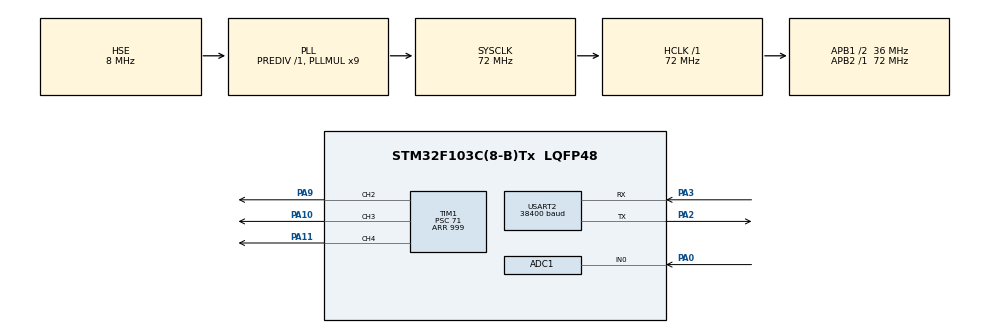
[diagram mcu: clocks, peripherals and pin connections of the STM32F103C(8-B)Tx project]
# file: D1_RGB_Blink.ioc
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ADC1.Channel-1\#ChannelRegularConversion=ADC_CHANNEL_0
ADC1.ContinuousConvMode=ENABLE
ADC1.NbrOfConversionFlag=1
ADC1.Rank-1\#ChannelRegularConversion=1
ADC1.SamplingTime-1\#ChannelRegularConversion=ADC_SAMPLETIME_239CYCLES_5
ADC1.master=1
Dma.ADC1.0.Direction=DMA_PERIPH_TO_MEMORY
Dma.ADC1.0.Instance=DMA1_Channel1
Dma.ADC1.0.MemDataAlignment=DMA_MDATAALIGN_HALFWORD
Dma.ADC1.0.MemInc=DMA_MINC_ENABLE
Dma.ADC1.0.Mode=DMA_CIRCULAR
Dma.ADC1.0.PeriphDataAlignment=DMA_PDATAALIGN_HALFWORD
Dma.ADC1.0.PeriphInc=DMA_PINC_DISABLE
Dma.ADC1.0.Priority=DMA_PRIORITY_LOW
Dma.Request0=ADC1
FREERTOS.BinarySemaphores01=lightSemaphore,Dynamic,NULL,Depleted
FREERTOS.Mutexes01=lightMutex,Dynamic,NULL,Available
FREERTOS.Queues01=adcQueue,4,uint32_t,0,Dynamic,NULL,NULL
FREERTOS.Tasks01=defaultTask,8,128,StartDefaultTask,Default,NULL,Dynamic,NULL,NULL;ADCTask,24,128,adcTaskFunc,Default,NULL,Dynamic,NULL,NULL;PWMTask,24,128,pwmTaskFunc,Default,NULL,Dynamic,NULL,NULL;BTCommandTask,24,128,btCmdTaskFunc,Default,NULL,Dynamic,NULL,NULL
Mcu.Family=STM32F1
Mcu.Name=STM32F103C(8-B)Tx
Mcu.Package=LQFP48
NVIC.DMA1_Channel1_IRQn=true\:5\:0\:false\:false\:true\:true\:false\:true\:true
NVIC.PriorityGroup=NVIC_PRIORITYGROUP_4
NVIC.RCC_IRQn=true\:5\:0\:false\:false\:true\:true\:true\:false\:true
NVIC.TIM4_IRQn=true\:15\:0\:false\:false\:true\:false\:false\:true\:true
NVIC.TimeBase=TIM4_IRQn
NVIC.TimeBaseIP=TIM4
NVIC.USART2_IRQn=true\:5\:0\:false\:false\:true\:true\:true\:true\:true
PA0-WKUP.Signal=ADCx_IN0
PA10.Signal=S_TIM1_CH3
PA11.Signal=S_TIM1_CH4
PA13.Mode=Serial_Wire
PA13.Signal=SYS_JTMS-SWDIO
PA14.Mode=Serial_Wire
PA14.Signal=SYS_JTCK-SWCLK
PA2.Mode=Asynchronous
PA2.Signal=USART2_TX
PA3.Mode=Asynchronous
PA3.Signal=USART2_RX
PA4.Signal=USART2_CK
PA9.Signal=S_TIM1_CH2
PD0-OSC_IN.Mode=HSE-External-Oscillator
PD0-OSC_IN.Signal=RCC_OSC_IN
PD1-OSC_OUT.Mode=HSE-External-Oscillator
PD1-OSC_OUT.Signal=RCC_OSC_OUT
ProjectManager.HeapSize=0x200
ProjectManager.StackSize=0x400
ProjectManager.TargetToolchain=MDK-ARM V5.32
RCC.ADCPresc=RCC_ADCPCLK2_DIV6
RCC.AHBFreq_Value=72000000
RCC.APB1CLKDivider=RCC_HCLK_DIV2
RCC.APB1Freq_Value=36000000
RCC.APB1TimFreq_Value=72000000
RCC.APB2Freq_Value=72000000
RCC.APB2TimFreq_Value=72000000
RCC.HCLKFreq_Value=72000000
RCC.PLLMUL=RCC_PLL_MUL9
RCC.PLLSourceVirtual=RCC_PLLSOURCE_HSE
RCC.SYSCLKFreq_VALUE=72000000
RCC.SYSCLKSource=RCC_SYSCLKSOURCE_PLLCLK
RCC.USBFreq_Value=72000000
SH.ADCx_IN0.0=ADC1_IN0,IN0
SH.S_TIM1_CH2.0=TIM1_CH2,PWM Generation2 CH2
SH.S_TIM1_CH3.0=TIM1_CH3,PWM Generation3 CH3
SH.S_TIM1_CH4.0=TIM1_CH4,PWM Generation4 CH4
TIM1.AutoReloadPreload=TIM_AUTORELOAD_PRELOAD_DISABLE
TIM1.AutomaticOutput=TIM_AUTOMATICOUTPUT_DISABLE
TIM1.BreakPolarity=TIM_BREAKPOLARITY_LOW
TIM1.Channel-PWM\ Generation2\ CH2=TIM_CHANNEL_2
TIM1.Channel-PWM\ Generation3\ CH3=TIM_CHANNEL_3
TIM1.Channel-PWM\ Generation4\ CH4=TIM_CHANNEL_4
TIM1.OCFastMode_PWM-PWM\ Generation2\ CH2=TIM_OCFAST_DISABLE
TIM1.OCMode_PWM-PWM\ Generation2\ CH2=TIM_OCMODE_PWM1
TIM1.OCPolarity_2=TIM_OCPOLARITY_HIGH
TIM1.OCPolarity_3=TIM_OCPOLARITY_HIGH
TIM1.OCPolarity_4=TIM_OCPOLARITY_HIGH
TIM1.Period=999
TIM1.Prescaler=71
USART2.BaudRate=38400
USART2.VirtualMode=VM_ASYNC
VP_FREERTOS_VS_CMSIS_V2.Mode=CMSIS_V2
VP_SYS_VS_tim4.Mode=TIM4
VP_TIM1_VS_ClockSourceINT.Mode=Internal
board=custom

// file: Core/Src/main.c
/* USER CODE BEGIN Header */
/**
  ******************************************************************************
  * @file           : main.c
  * @brief          : Main program body
  ******************************************************************************
  * @attention
  *
  * Copyright (c) 2026 STMicroelectronics.
  * All rights reserved.
  *
  * This software is licensed under terms that can be found in the LICENSE file
  * in the root directory of this software component.
  * If no LICENSE file comes with this software, it is provided AS-IS.
  *
  ******************************************************************************
  */
/* USER CODE END Header */
#include "main.h"
#include "cmsis_os.h"

ADC_HandleTypeDef hadc1;
DMA_HandleTypeDef hdma_adc1;

TIM_HandleTypeDef htim1;

UART_HandleTypeDef huart2;

/* Definitions for defaultTask */
osThreadId_t defaultTaskHandle;
const osThreadAttr_t defaultTask_attributes = {
  .name = "defaultTask",
  .stack_size = 128 * 4,
  .priority = (osPriority_t) osPriorityLow,
};
/* Definitions for ADCTask */
osThreadId_t ADCTaskHandle;
const osThreadAttr_t ADCTask_attributes = {
  .name = "ADCTask",
  .stack_size = 128 * 4,
  .priority = (osPriority_t) osPriorityNormal,
};
/* Definitions for PWMTask */
osThreadId_t PWMTaskHandle;
const osThreadAttr_t PWMTask_attributes = {
  .name = "PWMTask",
  .stack_size = 128 * 4,
  .priority = (osPriority_t) osPriorityNormal,
};
/* Definitions for BTCommandTask */
osThreadId_t BTCommandTaskHandle;
const osThreadAttr_t BTCommandTask_attributes = {
  .name = "BTCommandTask",
  .stack_size = 128 * 4,
  .priority = (osPriority_t) osPriorityNormal,
};
/* Definitions for adcQueue */
osMessageQueueId_t adcQueueHandle;
const osMessageQueueAttr_t adcQueue_attributes = {
  .name = "adcQueue"
};
/* Definitions for lightMutex */
osMutexId_t lightMutexHandle;
const osMutexAttr_t lightMutex_attributes = {
  .name = "lightMutex"
};
/* Definitions for lightSemaphore */
osSemaphoreId_t lightSemaphoreHandle;
const osSemaphoreAttr_t lightSemaphore_attributes = {
  .name = "lightSemaphore"
};
/* USER CODE BEGIN PV */

__IO uint8_t rx_cmd = 0;
uint8_t rx_buffer[3];

static uint8_t  light_mode = 0;     // 0=AUTO(默认), 1=MANUAL
static uint32_t manual_pwm = 500;   // 手动亮度默认 50%

uint16_t adc_dma_buf[128];                  // DMA 自动灌入 128 个样本

/* USER CODE END PV */

void SystemClock_Config(void);
static void MX_GPIO_Init(void);
static void MX_DMA_Init(void);
static void MX_USART2_UART_Init(void);
static void MX_TIM1_Init(void);
static void MX_ADC1_Init(void);
void StartDefaultTask(void *argument);
void adcTaskFunc(void *argument);
void pwmTaskFunc(void *argument);
void btCmdTaskFunc(void *argument);

/* USER CODE BEGIN 0 */

void HAL_UART_RxCpltCallback(UART_HandleTypeDef *huart){
    if(huart->Instance == USART2){

        uint8_t ch = rx_buffer[0];

        if(ch != '\r' && ch != '\n'){
            rx_cmd = ch;
        }
        HAL_UART_Receive_IT(&huart2, rx_buffer, 1);
    }
}

void RGB_SetColor(uint8_t r, uint8_t g, uint8_t b)
{
    HAL_GPIO_WritePin(GPIOA, GPIO_PIN_11, r ? GPIO_PIN_SET : GPIO_PIN_RESET);
    HAL_GPIO_WritePin(GPIOA, GPIO_PIN_10, g ? GPIO_PIN_SET : GPIO_PIN_RESET);
    HAL_GPIO_WritePin(GPIOA, GPIO_PIN_9,  b ? GPIO_PIN_SET : GPIO_PIN_RESET);
}

void HAL_ADC_ConvCpltCallback(ADC_HandleTypeDef* hadc)
{
    if (hadc->Instance == ADC1)
    {

        osSemaphoreRelease(lightSemaphoreHandle);

    }
}

/* USER CODE END 0 */

int main(void)
{

  /* MCU Configuration--------------------------------------------------------*/

  /* Reset of all peripherals, Initializes the Flash interface and the Systick. */
  HAL_Init();

  /* Configure the system clock */
  SystemClock_Config();

  /* Initialize all configured peripherals */
  MX_GPIO_Init();
  MX_DMA_Init();
  MX_USART2_UART_Init();
  MX_TIM1_Init();
  MX_ADC1_Init();
  /* USER CODE BEGIN 2 */
  HAL_UART_Receive_IT(&huart2,rx_buffer,1);
  HAL_TIM_PWM_Start(&htim1,TIM_CHANNEL_2);
  HAL_TIM_PWM_Start(&htim1,TIM_CHANNEL_3);
  HAL_TIM_PWM_Start(&htim1,TIM_CHANNEL_4);

  HAL_ADCEx_Calibration_Start(&hadc1);   				// 上电自校准
  HAL_ADC_Start_DMA(&hadc1, (uint32_t*)adc_dma_buf, 128);// 启动连续转换

  /* USER CODE END 2 */

  /* Init scheduler */
  osKernelInitialize();
  /* Create the mutex(es) */
  /* creation of lightMutex */
  lightMutexHandle = osMutexNew(&lightMutex_attributes);

  /* Create the semaphores(s) */
  /* creation of lightSemaphore */
  lightSemaphoreHandle = osSemaphoreNew(1, 0, &lightSemaphore_attributes);

  /* Create the queue(s) */
  /* creation of adcQueue */
  adcQueueHandle = osMessageQueueNew (4, sizeof(uint32_t), &adcQueue_attributes);

  /* Create the thread(s) */
  /* creation of defaultTask */
  defaultTaskHandle = osThreadNew(StartDefaultTask, NULL, &defaultTask_attributes);

  /* creation of ADCTask */
  ADCTaskHandle = osThreadNew(adcTaskFunc, NULL, &ADCTask_attributes);

  /* creation of PWMTask */
  PWMTaskHandle = osThreadNew(pwmTaskFunc, NULL, &PWMTask_attributes);

  /* creation of BTCommandTask */
  BTCommandTaskHandle = osThreadNew(btCmdTaskFunc, NULL, &BTCommandTask_attributes);

  /* Start scheduler */
  osKernelStart();

  /* We should never get here as control is now taken by the scheduler */

  /* Infinite loop */
  while (1)
  {

  }
}

void SystemClock_Config(void)
{
  RCC_OscInitTypeDef RCC_OscInitStruct = {0};
  RCC_ClkInitTypeDef RCC_ClkInitStruct = {0};
  RCC_PeriphCLKInitTypeDef PeriphClkInit = {0};

  /** Initializes the RCC Oscillators according to the specified parameters
  * in the RCC_OscInitTypeDef structure.
  */
  RCC_OscInitStruct.OscillatorType = RCC_OSCILLATORTYPE_HSE;
  RCC_OscInitStruct.HSEState = RCC_HSE_ON;
  RCC_OscInitStruct.HSEPredivValue = RCC_HSE_PREDIV_DIV1;
  RCC_OscInitStruct.HSIState = RCC_HSI_ON;
  RCC_OscInitStruct.PLL.PLLState = RCC_PLL_ON;
  RCC_OscInitStruct.PLL.PLLSource = RCC_PLLSOURCE_HSE;
  RCC_OscInitStruct.PLL.PLLMUL = RCC_PLL_MUL9;
  if (HAL_RCC_OscConfig(&RCC_OscInitStruct) != HAL_OK)
  {
    Error_Handler();
  }

  /** Initializes the CPU, AHB and APB buses clocks
  */
  RCC_ClkInitStruct.ClockType = RCC_CLOCKTYPE_HCLK|RCC_CLOCKTYPE_SYSCLK
                              |RCC_CLOCKTYPE_PCLK1|RCC_CLOCKTYPE_PCLK2;
  RCC_ClkInitStruct.SYSCLKSource = RCC_SYSCLKSOURCE_PLLCLK;
  RCC_ClkInitStruct.AHBCLKDivider = RCC_SYSCLK_DIV1;
  RCC_ClkInitStruct.APB1CLKDivider = RCC_HCLK_DIV2;
  RCC_ClkInitStruct.APB2CLKDivider = RCC_HCLK_DIV1;

  if (HAL_RCC_ClockConfig(&RCC_ClkInitStruct, FLASH_LATENCY_2) != HAL_OK)
  {
    Error_Handler();
  }
  PeriphClkInit.PeriphClockSelection = RCC_PERIPHCLK_ADC;
  PeriphClkInit.AdcClockSelection = RCC_ADCPCLK2_DIV6;
  if (HAL_RCCEx_PeriphCLKConfig(&PeriphClkInit) != HAL_OK)
  {
    Error_Handler();
  }
}

static void MX_ADC1_Init(void)
{

  ADC_ChannelConfTypeDef sConfig = {0};

  /** Common config
  */
  hadc1.Instance = ADC1;
  hadc1.Init.ScanConvMode = ADC_SCAN_DISABLE;
  hadc1.Init.ContinuousConvMode = ENABLE;
  hadc1.Init.DiscontinuousConvMode = DISABLE;
  hadc1.Init.ExternalTrigConv = ADC_SOFTWARE_START;
  hadc1.Init.DataAlign = ADC_DATAALIGN_RIGHT;
  hadc1.Init.NbrOfConversion = 1;
  if (HAL_ADC_Init(&hadc1) != HAL_OK)
  {
    Error_Handler();
  }

  /** Configure Regular Channel
  */
  sConfig.Channel = ADC_CHANNEL_0;
  sConfig.Rank = ADC_REGULAR_RANK_1;
  sConfig.SamplingTime = ADC_SAMPLETIME_239CYCLES_5;
  if (HAL_ADC_ConfigChannel(&hadc1, &sConfig) != HAL_OK)
  {
    Error_Handler();
  }

}

static void MX_TIM1_Init(void)
{

  TIM_ClockConfigTypeDef sClockSourceConfig = {0};
  TIM_MasterConfigTypeDef sMasterConfig = {0};
  TIM_OC_InitTypeDef sConfigOC = {0};
  TIM_BreakDeadTimeConfigTypeDef sBreakDeadTimeConfig = {0};

  htim1.Instance = TIM1;
  htim1.Init.Prescaler = 71;
  htim1.Init.CounterMode = TIM_COUNTERMODE_UP;
  htim1.Init.Period = 999;
  htim1.Init.ClockDivision = TIM_CLOCKDIVISION_DIV1;
  htim1.Init.RepetitionCounter = 0;
  htim1.Init.AutoReloadPreload = TIM_AUTORELOAD_PRELOAD_DISABLE;
  if (HAL_TIM_Base_Init(&htim1) != HAL_OK)
  {
    Error_Handler();
  }
  sClockSourceConfig.ClockSource = TIM_CLOCKSOURCE_INTERNAL;
  if (HAL_TIM_ConfigClockSource(&htim1, &sClockSourceConfig) != HAL_OK)
  {
    Error_Handler();
  }
  if (HAL_TIM_PWM_Init(&htim1) != HAL_OK)
  {
    Error_Handler();
  }
  sMasterConfig.MasterOutputTrigger = TIM_TRGO_RESET;
  sMasterConfig.MasterSlaveMode = TIM_MASTERSLAVEMODE_DISABLE;
  if (HAL_TIMEx_MasterConfigSynchronization(&htim1, &sMasterConfig) != HAL_OK)
  {
    Error_Handler();
  }
  sConfigOC.OCMode = TIM_OCMODE_PWM1;
  sConfigOC.Pulse = 0;
  sConfigOC.OCPolarity = TIM_OCPOLARITY_HIGH;
  sConfigOC.OCNPolarity = TIM_OCNPOLARITY_HIGH;
  sConfigOC.OCFastMode = TIM_OCFAST_DISABLE;
  sConfigOC.OCIdleState = TIM_OCIDLESTATE_RESET;
  sConfigOC.OCNIdleState = TIM_OCNIDLESTATE_RESET;
  if (HAL_TIM_PWM_ConfigChannel(&htim1, &sConfigOC, TIM_CHANNEL_2) != HAL_OK)
  {
    Error_Handler();
  }
  if (HAL_TIM_PWM_ConfigChannel(&htim1, &sConfigOC, TIM_CHANNEL_3) != HAL_OK)
  {
    Error_Handler();
  }
  if (HAL_TIM_PWM_ConfigChannel(&htim1, &sConfigOC, TIM_CHANNEL_4) != HAL_OK)
  {
    Error_Handler();
  }
  sBreakDeadTimeConfig.OffStateRunMode = TIM_OSSR_DISABLE;
  sBreakDeadTimeConfig.OffStateIDLEMode = TIM_OSSI_DISABLE;
  sBreakDeadTimeConfig.LockLevel = TIM_LOCKLEVEL_OFF;
  sBreakDeadTimeConfig.DeadTime = 0;
  sBreakDeadTimeConfig.BreakState = TIM_BREAK_DISABLE;
  sBreakDeadTimeConfig.BreakPolarity = TIM_BREAKPOLARITY_LOW;
  sBreakDeadTimeConfig.AutomaticOutput = TIM_AUTOMATICOUTPUT_DISABLE;
  if (HAL_TIMEx_ConfigBreakDeadTime(&htim1, &sBreakDeadTimeConfig) != HAL_OK)
  {
    Error_Handler();
  }
  HAL_TIM_MspPostInit(&htim1);

}

static void MX_USART2_UART_Init(void)
{

  huart2.Instance = USART2;
  huart2.Init.BaudRate = 38400;
  huart2.Init.WordLength = UART_WORDLENGTH_8B;
  huart2.Init.StopBits = UART_STOPBITS_1;
  huart2.Init.Parity = UART_PARITY_NONE;
  huart2.Init.Mode = UART_MODE_TX_RX;
  huart2.Init.HwFlowCtl = UART_HWCONTROL_NONE;
  huart2.Init.OverSampling = UART_OVERSAMPLING_16;
  if (HAL_UART_Init(&huart2) != HAL_OK)
  {
    Error_Handler();
  }

}

static void MX_DMA_Init(void)
{

  /* DMA controller clock enable */
  __HAL_RCC_DMA1_CLK_ENABLE();

  /* DMA interrupt init */
  /* DMA1_Channel1_IRQn interrupt configuration */
  HAL_NVIC_SetPriority(DMA1_Channel1_IRQn, 5, 0);
  HAL_NVIC_EnableIRQ(DMA1_Channel1_IRQn);

}

static void MX_GPIO_Init(void)
{

  /* GPIO Ports Clock Enable */
  __HAL_RCC_GPIOD_CLK_ENABLE();
  __HAL_RCC_GPIOA_CLK_ENABLE();

}

void StartDefaultTask(void *argument)
{
  for(;;)
  {
    osDelay(1);
  }
}

void adcTaskFunc(void *argument)
{
  /* USER CODE BEGIN adcTaskFunc */

    static uint32_t adc_min = 1000;
    static uint32_t adc_max = 1100;

  /* Infinite loop */
  for(;;)
  { osSemaphoreAcquire(lightSemaphoreHandle, osWaitForever);
	  uint32_t sum = 0;
    for (int i = 48; i < 80; i++)
        sum += adc_dma_buf[i];
    uint32_t val = sum / 32;

	  static uint32_t tick = 0;
tick++;
if (tick >= 370)                              /* 约每秒印一次 */
{
    tick = 0;
    char buf[50];

    /* 手写整数字符串，不用 sprintf */
    buf[0] = 'v'; buf[1] = '=';                 /* "val" */
    uint32_t n = val;
    uint8_t i = 2;
    if (n == 0) buf[i++] = '0';
    else { uint8_t tmp[10]; uint8_t j = 0;
        while (n > 0) { tmp[j++] = '0' + (n % 10); n /= 10; }
        while (j > 0) buf[i++] = tmp[--j]; }
    buf[i++] = ' ';

    n = adc_min;
    buf[i++] = 'm'; buf[i++] = '=';             /* "min" */
    if (n == 0) buf[i++] = '0';
    else { uint8_t tmp[10]; uint8_t j = 0;
        while (n > 0) { tmp[j++] = '0' + (n % 10); n /= 10; }
        while (j > 0) buf[i++] = tmp[--j]; }
    buf[i++] = ' ';

    n = adc_max;
    buf[i++] = 'M'; buf[i++] = '=';             /* "Max" */
    if (n == 0) buf[i++] = '0';
    else { uint8_t tmp[10]; uint8_t j = 0;
        while (n > 0) { tmp[j++] = '0' + (n % 10); n /= 10; }
        while (j > 0) buf[i++] = tmp[--j]; }

    buf[i++] = '\r'; buf[i++] = '\n';
    HAL_UART_Transmit(&huart2, (uint8_t*)buf, i, 100);
}

    /* 取中间 32 个样本平均，抗抖动 */

    if (val < adc_min) adc_min = val;
    if (val > adc_max) adc_max = val;

    uint32_t pwm;
    if (adc_max > adc_min)
        pwm = (val - adc_min) * 999 / (adc_max - adc_min);

    osMessageQueuePut(adcQueueHandle, &pwm, 0, 0);
  }

  /* USER CODE END adcTaskFunc */
}

void pwmTaskFunc(void *argument)
{
  /* USER CODE BEGIN pwmTaskFunc */
	uint32_t pwm = 0;

  /* Infinite loop */
  for(;;)
  {
	osMessageQueueGet(adcQueueHandle,&pwm,NULL,osWaitForever);

	  osMutexAcquire(lightMutexHandle,osWaitForever);

	  if(light_mode == 1){
		pwm = manual_pwm;
	  }

	  osMutexRelease(lightMutexHandle);

	__HAL_TIM_SET_COMPARE(&htim1, TIM_CHANNEL_4, pwm);
    __HAL_TIM_SET_COMPARE(&htim1, TIM_CHANNEL_3, pwm);
    __HAL_TIM_SET_COMPARE(&htim1, TIM_CHANNEL_2, pwm);
  }
  /* USER CODE END pwmTaskFunc */
}

void btCmdTaskFunc(void *argument)
{
  /* USER CODE BEGIN btCmdTaskFunc */
  /* Infinite loop */
  for(;;)
  {
	if(rx_cmd != 0){
		osMutexAcquire(lightMutexHandle,osWaitForever);

		if (rx_cmd == 'A' || rx_cmd == 'a')
      {
        light_mode = 0;   // 自动
      }
      else if (rx_cmd == 'M' || rx_cmd == 'm')
      {
        light_mode = 1;   // 手动
      }
	  else if (rx_cmd == 'O' || rx_cmd == 'o')
	  {
		manual_pwm = 0;

		light_mode = 1;
	  }
      else if (rx_cmd >= '1' && rx_cmd <= '9')
      {

        manual_pwm = (uint32_t)(rx_cmd - '0') * 111;

        light_mode = 1;   // 收到数字自动切手动模式
      }
	  osMutexRelease(lightMutexHandle);

	}

	rx_cmd = 0;

    osDelay(50);
  }
  /* USER CODE END btCmdTaskFunc */
}

void HAL_TIM_PeriodElapsedCallback(TIM_HandleTypeDef *htim)
{
  if (htim->Instance == TIM4)
  {
    HAL_IncTick();
  }
}

void Error_Handler(void)
{
  __disable_irq();
  while (1)
  {
  }
}
